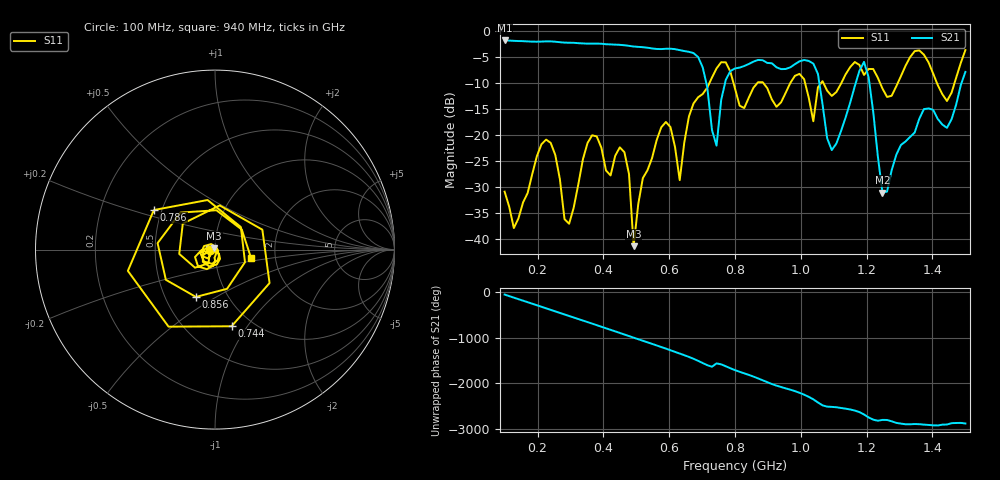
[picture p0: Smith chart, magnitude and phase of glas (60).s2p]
! NanoVNA-App
! Date: 2025-09-25 15:55:56
! Start: 100MHz Stop: 1,5GHz Points: 101
! S-Parameter data: F S11 S21 S12 S22
# Hz S RI R 50
!  Frequency  S11_Real  S11_Imag  S21_Real  S21_Imag  S12_Real  S12_Imag  S22_Real  S22_Imag
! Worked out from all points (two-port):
!   101 points, 100 MHz to 1.5 GHz, reference 50 ohm
!   highest |S21| = -1.80 dB at 100 MHz (marker M1); lowest = -31.1 dB at 1.248 GHz (marker M2)
!   |S21| within 3 dB of the highest: start of sweep to 684.4 MHz
!   lowest |S11| = -41.5 dB at 492 MHz (marker M3), VSWR 1.02, Z = 49.5 + j0.635 ohm
!   |S11| at or under -10 dB: start of sweep to 722.3 MHz; 795.4 MHz to 868.2 MHz (72.81 MHz wide, 8.75 % of centre); 885.9 MHz to 968 MHz (82.15 MHz wide, 8.86 % of centre) (the widest 3 of 7)
!   S12 and S22 are empty: the file has one direction only
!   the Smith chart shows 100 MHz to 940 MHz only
!   S11 on the Smith chart (normalised r, x): 100 MHz: 0.95, -0.01; 744 MHz: 0.80, -0.85; 786 MHz: 0.45, +0.24; 856 MHz: 0.71, -0.41; 940 MHz: 1.49, -0.14
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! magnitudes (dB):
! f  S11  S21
! 100 MHz  -31.0  -1.8
! 128 MHz  -38.0  -1.9
! 226 MHz  -20.9  -2.0
! 296 MHz  -37.1  -2.2
! 338 MHz  -24.7  -2.4
! 464 MHz  -23.3  -2.7
! 492 MHz  -41.5  -3.0
! 576 MHz  -18.5  -3.5
! 632 MHz  -28.7  -3.7
! 702 MHz  -12.1  -7.0
! 744 MHz  -7.2  -22.1
! 786 MHz  -7.8  -7.7
! 800 MHz  -11.1  -7.2
! 856 MHz  -10.9  -5.9
! 940 MHz  -13.7  -7.3
! 1.038 GHz  -17.4  -6.3
! 1.094 GHz  -12.5  -22.9
! 1.192 GHz  -8.5  -5.9
! 1.248 GHz  -11.1  -31.1
! 1.276 GHz  -12.5  -26.8
! 1.444 GHz  -13.5  -18.7
! 1.5 GHz  -3.7  -7.9
